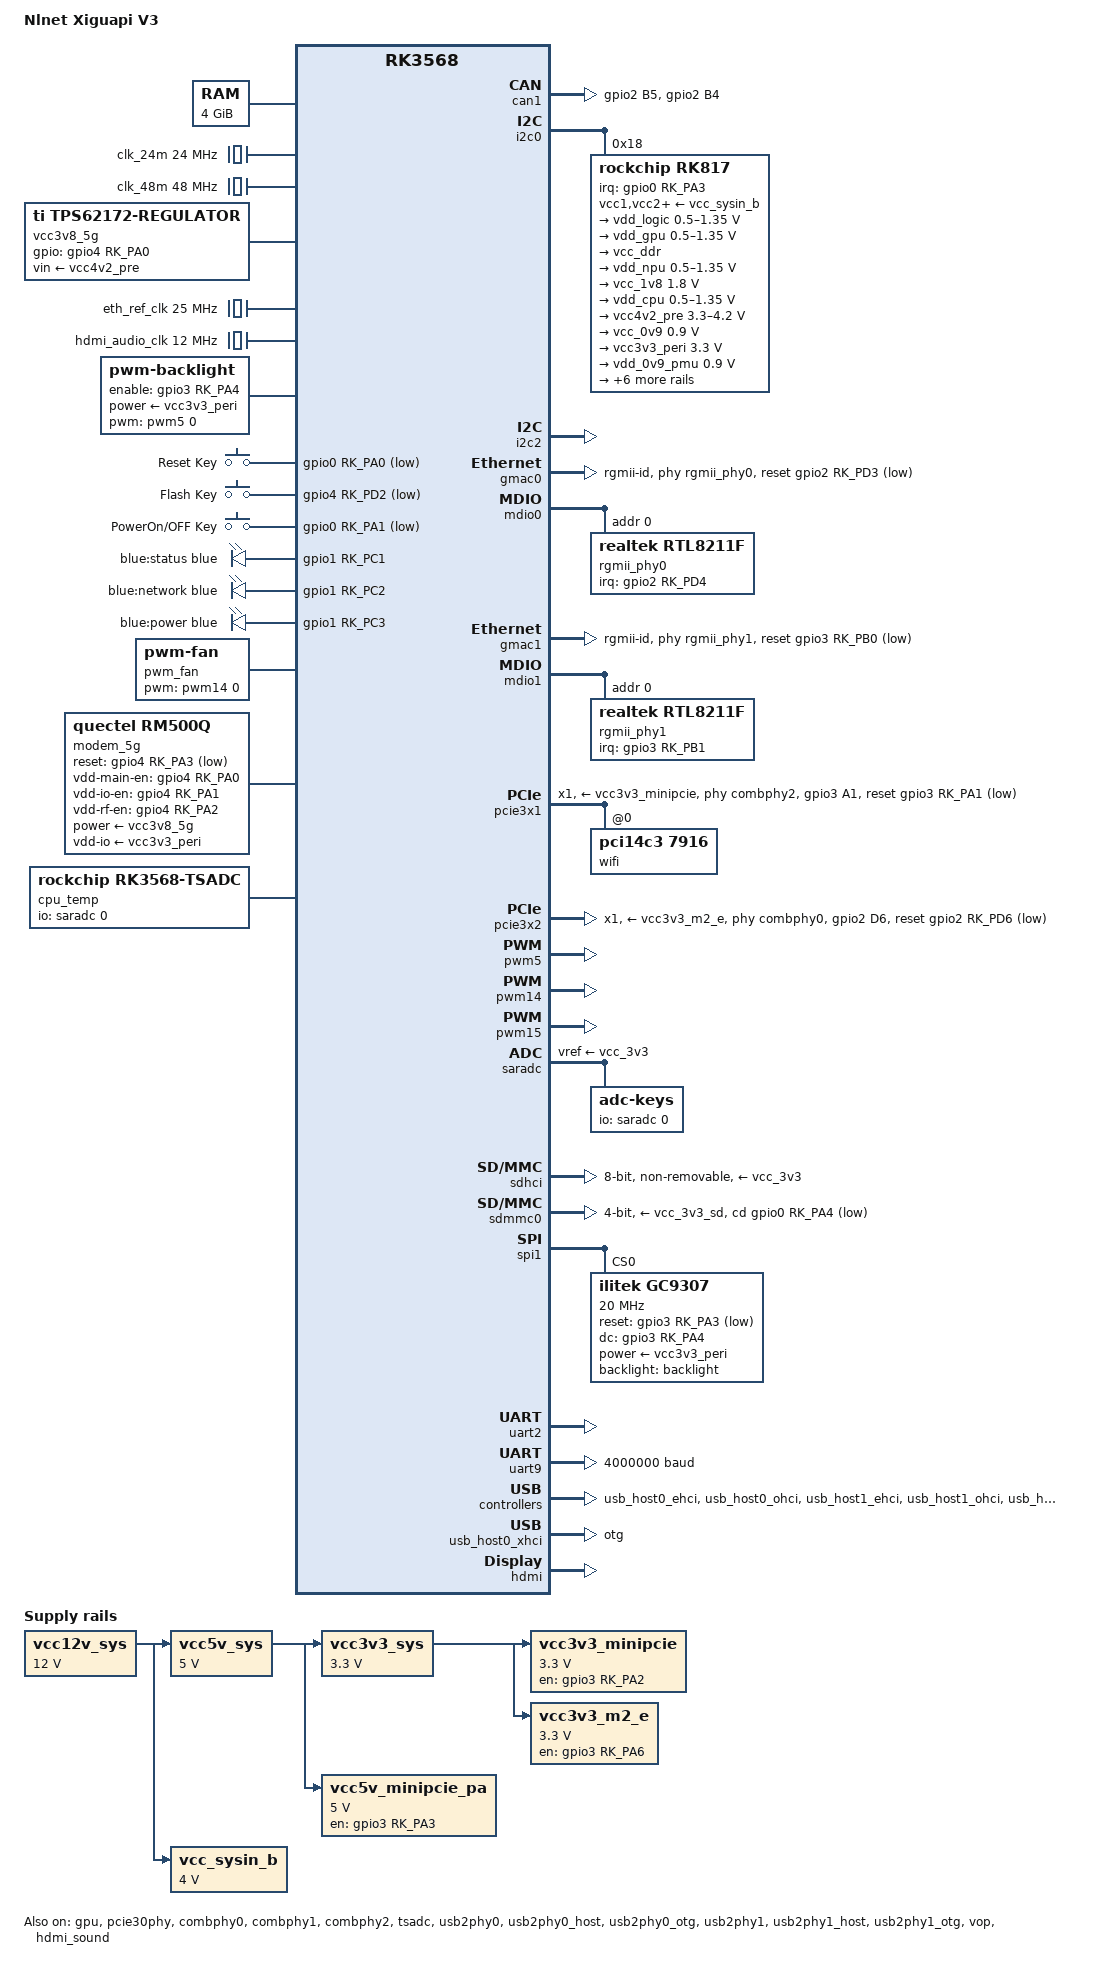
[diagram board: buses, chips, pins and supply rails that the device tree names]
/dts-v1/;
#include <dt-bindings/gpio/gpio.h>
#include <dt-bindings/pinctrl/rockchip.h>
#include <dt-bindings/input/input.h>
#include <dt-bindings/leds/common.h>
#include <dt-bindings/soc/rockchip,vop2.h>
#include <dt-bindings/interrupt-controller/irq.h>
#include <dt-bindings/thermal/thermal.h>
#include <rockchip/rk3568.dtsi>

/ {
	model = "Nlnet Xiguapi V3";
	compatible = "nlnet,xiguapi-v3", "rockchip,rk3568";

	aliases {
		ethernet0 = &gmac0;
		ethernet1 = &gmac1;
		mmc0 = &sdhci;
		mmc1 = &sdmmc0;
		spi0 = &spi1;
		led-boot = &led_power;
		led-failsafe = &led_status;
		led-running = &led_status;
		led-upgrade = &led_status;
	};

	chosen {
		stdout-path = "serial2:115200n8";
		bootargs = "earlycon=uart8250,mmio32,0xfe660000 console=ttyS2,115200n8 root=/dev/mmcblk0p2 rw rootwait";
	};

	memory@80000000 {
		device_type = "memory";
		reg = <0x0 0x80000000 0x1 0x00000000>;
	};

	reserved-memory {
		#address-cells = <2>;
		#size-cells = <2>;
		ranges;

		vpu_reserved: vpu@88000000 {
			reg = <0x0 0x88000000 0x0 0x04000000>;
			no-map;
		};

		dma_reserved: dma@8c000000 {
			compatible = "shared-dma-pool";
			reg = <0x0 0x8c000000 0x0 0x02000000>;
			reusable;
			no-map;
		};

		secure_reserved: secure@8e000000 {
			compatible = "rockchip,secure-memory";
			reg = <0x0 0x8e000000 0x0 0x00100000>;
			no-map;
		};
	};

	display_timings: display-timings {
		native-mode = <&timing0>;
		timing0: timing0 {
			clock-frequency = <5840000>;
			hactive = <320>;
			vactive = <240>;
			hfront-porch = <20>;
			hback-porch = <15>;
			hsync-len = <10>;
			vfront-porch = <10>;
			vback-porch = <8>;
			vsync-len = <2>;
			hsync-active = <0>;
			vsync-active = <0>;
			de-active = <1>;
			pixelclk-active = <0>;
		};
	};

	fixed_clocks: fixed-clocks {
		compatible = "simple-bus";
		#address-cells = <1>;
		#size-cells = <0>;

		clk_24m: clk-24m@0 {
			compatible = "fixed-clock";
			clock-frequency = <24000000>;
			clock-output-names = "clk_24m";
			#clock-cells = <0>;
		};

		clk_48m: clk-48m@1 {
			compatible = "fixed-clock";
			clock-frequency = <48000000>;
			clock-output-names = "clk_48m";
			#clock-cells = <0>;
		};
	};

	vcc12v_sys: vcc12v-sys {
		compatible = "regulator-fixed";
		regulator-name = "vcc12v_sys";
		regulator-always-on;
		regulator-boot-on;
		regulator-min-microvolt = <12000000>;
		regulator-max-microvolt = <12000000>;
	};

	vcc5v_sys: vcc5v0-sys {
		compatible = "regulator-fixed";
		regulator-name = "vcc5v0_sys";
		regulator-always-on;
		regulator-boot-on;
		regulator-min-microvolt = <5000000>;
		regulator-max-microvolt = <5000000>;
		vin-supply = <&vcc12v_sys>;
	};

	vcc_sysin_b: vcc-sysin-b {
		compatible = "regulator-fixed";
		regulator-name = "vcc_sysin_b";
		regulator-always-on;
		regulator-boot-on;
		regulator-min-microvolt = <4000000>;
		regulator-max-microvolt = <4000000>;
		vin-supply = <&vcc12v_sys>;
	};

	vcc3v3_sys: vcc3v3-sys {
		compatible = "regulator-fixed";
		regulator-name = "vcc3v3_sys";
		regulator-always-on;
		regulator-boot-on;
		regulator-min-microvolt = <3300000>;
		regulator-max-microvolt = <3300000>;
		vin-supply = <&vcc5v_sys>;
	};

	vcc3v8_5g: vcc3v8-5g {
		compatible = "ti,tps62172-regulator";
		regulator-name = "vcc3v8_5g";
		regulator-min-microvolt = <3800000>;
		regulator-max-microvolt = <3800000>;
		regulator-soft-start;
		regulator-ramp-delay = <10000>;
		startup-delay-us = <50000>;
		off-on-delay-us = <200000>;
		enable-active-high;
		gpio = <&gpio4 RK_PA0 GPIO_ACTIVE_HIGH>;
		pinctrl-names = "default";
		pinctrl-0 = <&vcc3v8_5g_en>;
		vin-supply = <&vcc4v2_pre>;
		power-on-delay-ms = <100>;
	};

	vcc3v3_minipcie: vcc3v3-minipcie {
		compatible = "regulator-fixed";
		regulator-name = "vcc3v3_minipcie";
		regulator-min-microvolt = <3300000>;
		regulator-max-microvolt = <3300000>;
		enable-active-high;
		gpio = <&gpio3 RK_PA2 GPIO_ACTIVE_HIGH>;
		pinctrl-names = "default";
		pinctrl-0 = <&minipcie_pwr_en>;
		vin-supply = <&vcc3v3_sys>;
	};

	vcc5v_minipcie_pa: vcc5v-minipcie-pa {
		compatible = "regulator-fixed";
		regulator-name = "vcc5v_minipcie_pa";
		regulator-min-microvolt = <5000000>;
		regulator-max-microvolt = <5000000>;
		enable-active-high;
		gpio = <&gpio3 RK_PA3 GPIO_ACTIVE_HIGH>;
		pinctrl-names = "default";
		pinctrl-0 = <&minipcie_pa_pwr_en>;
		vin-supply = <&vcc5v_sys>;
	};

	vcc3v3_m2_e: vcc3v3-m2-e {
		compatible = "regulator-fixed";
		regulator-name = "vcc3v3_m2_e";
		regulator-min-microvolt = <3300000>;
		regulator-max-microvolt = <3300000>;
		enable-active-high;
		gpio = <&gpio3 RK_PA6 GPIO_ACTIVE_HIGH>;
		pinctrl-names = "default";
		pinctrl-0 = <&m2_e_pwr_en>;
		vin-supply = <&vcc3v3_sys>;
	};

	eth_ref_clk: eth-ref-clk {
		compatible = "fixed-clock";
		clock-frequency = <25000000>;
		clock-output-names = "eth_ref_clk";
		#clock-cells = <0>;
	};

	hdmi_audio_clk: hdmi-audio-clk {
		compatible = "fixed-clock";
		clock-frequency = <12000000>;
		clock-output-names = "hdmi_audio_clk";
		#clock-cells = <0>;
	};

	spi_lcd_clk: spi-lcd-clk {
		compatible = "fixed-clock";
		clock-frequency = <20000000>;
		clock-output-names = "spi_lcd_clk";
		#clock-cells = <0>;
	};

	backlight: backlight {
		compatible = "pwm-backlight";
		pwms = <&pwm5 0 1000000 0>;
		brightness-levels = <0 4 8 16 32 64 128 255>;
		default-brightness-level = <6>;
		enable-gpios = <&gpio3 RK_PA4 GPIO_ACTIVE_HIGH>;
		power-supply = <&vcc3v3_peri>;
	};

	gpio-keys {
		compatible = "gpio-keys";
		pinctrl-names = "default";
		pinctrl-0 = <&reset_key_pin>, <&flash_key_pin>, <&power_key_pin>;

		reset-key {
			label = "Reset Key";
			gpios = <&gpio0 RK_PA0 GPIO_ACTIVE_LOW>;
			linux,code = <KEY_RESTART>;
			debounce-interval = <10>;
		};

		flash-key {
			label = "Flash Key";
			gpios = <&gpio4 RK_PD2 GPIO_ACTIVE_LOW>;
			linux,code = <KEY_PROG1>;
			debounce-interval = <100>;
		};

		recovery-key {
			label = "PowerOn/OFF Key";
			gpios = <&gpio0 RK_PA1 GPIO_ACTIVE_LOW>;
			linux,code = <KEY_POWER>;
			debounce-interval = <100>;
			wakeup-source;
		};
	};

	leds {
		compatible = "gpio-leds";
		pinctrl-names = "default";
		pinctrl-0 = <&led_status_pin>, <&led_network_pin>, <&led_power_pin>;

		led_status: led-status {
			label = "blue:status";
			gpios = <&gpio1 RK_PC1 GPIO_ACTIVE_HIGH>;
			linux,default-trigger = "heartbeat";
			color = <LED_COLOR_ID_BLUE>;
		};

		led_network: led-network {
			label = "blue:network";
			gpios = <&gpio1 RK_PC2 GPIO_ACTIVE_HIGH>;
			linux,default-trigger = "netdev";
			color = <LED_COLOR_ID_BLUE>;
		};

		led_power: led-power {
			label = "blue:power";
			gpios = <&gpio1 RK_PC3 GPIO_ACTIVE_HIGH>;
			default-state = "on";
			color = <LED_COLOR_ID_BLUE>;
		};
	};

	pwm_fan: pwm-fan {
		compatible = "pwm-fan";
		pwms = <&pwm14 0 40000 0>;
		#cooling-cells = <2>;
		cooling-levels = <0 255>;
		pinctrl-names = "default";
		pinctrl-0 = <&pwm14m0_pins>;
	};

	modem_5g: modem-5g {
		compatible = "quectel,rm500q", "fibocom,fm350gl";
		power-supply = <&vcc3v8_5g>;
		vdd-io-supply = <&vcc3v3_peri>;
		reset-gpios = <&gpio4 RK_PA3 GPIO_ACTIVE_LOW>;
		vdd-main-en-gpios = <&gpio4 RK_PA0 GPIO_ACTIVE_HIGH>;
		vdd-io-en-gpios = <&gpio4 RK_PA1 GPIO_ACTIVE_HIGH>;
		vdd-rf-en-gpios = <&gpio4 RK_PA2 GPIO_ACTIVE_HIGH>;
		uart = <&uart9>;
		power-on-delay-ms = <50>;
		reset-duration-ms = <100>;
		pinctrl-names = "default";
		pinctrl-0 = <&modem_5g_pins>;
		status = "okay";
	};

	cpu_opp_table: cpu-opp-table {
		compatible = "operating-points-v2";

		opp-408000000 {
			opp-hz = /bits/ 64 <408000000>;
			opp-microvolt = <725000>;
		};

		opp-816000000 {
			opp-hz = /bits/ 64 <816000000>;
			opp-microvolt = <762500>;
		};

		opp-1200000000 {
			opp-hz = /bits/ 64 <1200000000>;
			opp-microvolt = <850000>;
		};

		opp-1608000000 {
			opp-hz = /bits/ 64 <1608000000>;
			opp-microvolt = <950000>;
		};

		opp-1800000000 {
			opp-hz = /bits/ 64 <1800000000>;
			opp-microvolt = <1025000>;
		};
	};

	gpu-opp-table {
		compatible = "operating-points-v2";

		opp-200000000 {
			opp-hz = /bits/ 64 <200000000>;
			opp-microvolt = <750000>;
		};

		opp-400000000 {
			opp-hz = /bits/ 64 <400000000>;
			opp-microvolt = <850000>;
		};

		opp-600000000 {
			opp-hz = /bits/ 64 <600000000>;
			opp-microvolt = <950000>;
		};
	};

	can1: can@fe510000 {
		compatible = "rockchip,rk3568-can", "rockchip,canfd-1.0";
		reg = <0x0 0xfe510000 0x0 0x1000>;
		interrupts = <GIC_SPI 101 IRQ_TYPE_LEVEL_HIGH>;
		clocks = <&cru CLK_CAN1>, <&cru PCLK_CAN1>;
		clock-names = "baudclk", "apb_pclk";
		resets = <&cru SRST_CAN1>, <&cru SRST_P_CAN1>;
		reset-names = "can", "can-apb";
		pinctrl-names = "default";
		pinctrl-0 = <&can1_pins>;
		status = "okay";
	};
};

&cpu0 {
	cpu-supply = <&vdd_cpu>;
	operating-points-v2 = <&cpu_opp_table>;
};

&cpu1 {
	cpu-supply = <&vdd_cpu>;
	operating-points-v2 = <&cpu_opp_table>;
};

&cpu2 {
	cpu-supply = <&vdd_cpu>;
	operating-points-v2 = <&cpu_opp_table>;
};

&cpu3 {
	cpu-supply = <&vdd_cpu>;
	operating-points-v2 = <&cpu_opp_table>;
};

&gpu {
	mali-supply = <&vdd_gpu>;
	operating-points-v2 = <&gpu_opp_table>;
	status = "okay";
};

&i2c0 {
	status = "okay";

	rk817: pmic@18 {
		compatible = "rockchip,rk817", "rockchip,rk808";
		reg = <0x18>;
		interrupt-parent = <&gpio0>;
		interrupts = <RK_PA3 IRQ_TYPE_LEVEL_LOW>;
		pinctrl-names = "default";
		pinctrl-0 = <&pmic_int>;
		rockchip,system-power-controller;
		wakeup-source;
		#clock-cells = <1>;
		clock-output-names = "rk808-clkout1", "rk808-clkout2";
		vcc1-supply = <&vcc_sysin_b>;
		vcc2-supply = <&vcc_sysin_b>;
		vcc3-supply = <&vcc_sysin_b>;
		vcc4-supply = <&vcc_sysin_b>;
		vcc5-supply = <&vcc_sysin_b>;
		vcc6-supply = <&vcc_sysin_b>;
		vcc7-supply = <&vcc_sysin_b>;
		vcc8-supply = <&vcc_sysin_b>;
		vcc9-supply = <&vcc_sysin_b>;

		regulators {
			vdd_logic: DCDC_REG1 {
				regulator-name = "vdd_logic";
				regulator-always-on;
				regulator-boot-on;
				regulator-min-microvolt = <500000>;
				regulator-max-microvolt = <1350000>;
				regulator-ramp-delay = <6001>;
				regulator-initial-mode = <0x2>;
				regulator-state-mem {
					regulator-off-in-suspend;
				};
			};

			vdd_gpu: DCDC_REG2 {
				regulator-name = "vdd_gpu";
				regulator-always-on;
				regulator-boot-on;
				regulator-min-microvolt = <500000>;
				regulator-max-microvolt = <1350000>;
				regulator-ramp-delay = <6001>;
				regulator-initial-mode = <0x2>;
				regulator-state-mem {
					regulator-off-in-suspend;
				};
			};

			vcc_ddr: DCDC_REG3 {
				regulator-name = "vcc_ddr";
				regulator-always-on;
				regulator-boot-on;
				regulator-initial-mode = <0x2>;
				regulator-state-mem {
					regulator-on-in-suspend;
				};
			};

			vdd_npu: DCDC_REG4 {
				regulator-name = "vdd_npu";
				regulator-always-on;
				regulator-boot-on;
				regulator-min-microvolt = <500000>;
				regulator-max-microvolt = <1350000>;
				regulator-ramp-delay = <6001>;
				regulator-initial-mode = <0x2>;
				regulator-state-mem {
					regulator-off-in-suspend;
				};
			};

			vcc_1v8: DCDC_REG5 {
				regulator-name = "vcc_1v8";
				regulator-always-on;
				regulator-boot-on;
				regulator-min-microvolt = <1800000>;
				regulator-max-microvolt = <1800000>;
				regulator-state-mem {
					regulator-off-in-suspend;
				};
			};

			vdd_cpu: DCDC_REG6 {
				regulator-name = "vdd_cpu";
				regulator-always-on;
				regulator-boot-on;
				regulator-min-microvolt = <500000>;
				regulator-max-microvolt = <1350000>;
				regulator-ramp-delay = <6001>;
				regulator-initial-mode = <0x2>;
				regulator-state-mem {
					regulator-off-in-suspend;
				};
			};

			vcc4v2_pre: DCDC_REG7 {
				regulator-name = "vcc4v2_pre";
				regulator-always-on;
				regulator-boot-on;
				regulator-min-microvolt = <3300000>;
				regulator-max-microvolt = <4200000>;
				regulator-state-mem {
					regulator-off-in-suspend;
				};
			};

			vcc_0v9: LDO_REG1 {
				regulator-name = "vcc_0v9";
				regulator-always-on;
				regulator-boot-on;
				regulator-min-microvolt = <900000>;
				regulator-max-microvolt = <900000>;
				regulator-state-mem {
					regulator-off-in-suspend;
				};
			};

			vcc3v3_peri: LDO_REG2 {
				regulator-name = "vcc3v3_peri";
				regulator-always-on;
				regulator-boot-on;
				regulator-min-microvolt = <3300000>;
				regulator-max-microvolt = <3300000>;
				regulator-state-mem {
					regulator-on-in-suspend;
					regulator-suspend-microvolt = <3300000>;
				};
			};

			vdd_0v9_pmu: LDO_REG3 {
				regulator-name = "vdd_0v9_pmu";
				regulator-always-on;
				regulator-boot-on;
				regulator-min-microvolt = <900000>;
				regulator-max-microvolt = <900000>;
				regulator-state-mem {
					regulator-on-in-suspend;
					regulator-suspend-microvolt = <900000>;
				};
			};

			vcc_3v3: LDO_REG4 {
				regulator-name = "vcc_3v3";
				regulator-always-on;
				regulator-boot-on;
				regulator-min-microvolt = <3300000>;
				regulator-max-microvolt = <3300000>;
				regulator-state-mem {
					regulator-off-in-suspend;
				};
			};

			vcc_1v8_pmu: LDO_REG5 {
				regulator-name = "vcc_1v8_pmu";
				regulator-always-on;
				regulator-boot-on;
				regulator-min-microvolt = <1800000>;
				regulator-max-microvolt = <1800000>;
				regulator-state-mem {
					regulator-on-in-suspend;
					regulator-suspend-microvolt = <1800000>;
				};
			};

			vcc_1v8_image: LDO_REG6 {
				regulator-name = "vcc_1v8_image";
				regulator-always-on;
				regulator-boot-on;
				regulator-min-microvolt = <1800000>;
				regulator-max-microvolt = <1800000>;
				regulator-state-mem {
					regulator-off-in-suspend;
				};
			};

			vcc_3v3_sd: LDO_REG7 {
				regulator-name = "vcc_3v3_sd";
				regulator-always-on;
				regulator-boot-on;
				regulator-min-microvolt = <3300000>;
				regulator-max-microvolt = <3300000>;
				regulator-state-mem {
					regulator-off-in-suspend;
				};
			};

			vcc_3v3_codec: LDO_REG8 {
				regulator-name = "vcc_3v3_codec";
				regulator-always-on;
				regulator-boot-on;
				regulator-min-microvolt = <3300000>;
				regulator-max-microvolt = <3300000>;
				regulator-state-mem {
					regulator-off-in-suspend;
				};
			};

			vcc_1v8_codec: LDO_REG9 {
				regulator-name = "vcc_1v8_codec";
				regulator-always-on;
				regulator-boot-on;
				regulator-min-microvolt = <1800000>;
				regulator-max-microvolt = <1800000>;
				regulator-state-mem {
					regulator-off-in-suspend;
				};
			};
		};
	};
};

&i2c2 {
	status = "okay";
	pinctrl-names = "default";
	pinctrl-0 = <&i2c2m1_xfer>;
};

&gmac0 {
	assigned-clocks = <&cru SCLK_GMAC0_RX_TX>, <&cru SCLK_GMAC0>;
	assigned-clock-parents = <&cru SCLK_GMAC0_RGMII_SPEED>, <&cru CLK_MAC0_2TOP>;
	assigned-clock-rates = <0>, <125000000>;
	clock_in_out = "output";
	phy-mode = "rgmii-id";
	pinctrl-names = "default";
	pinctrl-0 = <&gmac0_miim &gmac0_tx_bus2 &gmac0_rx_bus2 &gmac0_rgmii_clk &gmac0_rgmii_bus>;
	snps,reset-gpio = <&gpio2 RK_PD3 GPIO_ACTIVE_LOW>;
	snps,reset-active-low;
	snps,reset-delays-us = <0 20000 100000>;
	tx_delay = <0x4f>;
	rx_delay = <0x26>;
	phy-handle = <&rgmii_phy0>;
	status = "okay";
};

&mdio0 {
	rgmii_phy0: ethernet-phy@0 {
		compatible = "realtek,rtl8211f", "ethernet-phy-ieee802.3-c22";
		reg = <0x0>;
		interrupt-parent = <&gpio2>;
		interrupts = <RK_PD4 IRQ_TYPE_LEVEL_LOW>;
		realtek,led-0-mode = <3>;
		realtek,led-1-mode = <6>;
		eee-broken-1000t;
	};
};

&gmac1 {
	assigned-clocks = <&cru SCLK_GMAC1_RX_TX>, <&cru SCLK_GMAC1>;
	assigned-clock-parents = <&cru SCLK_GMAC1_RGMII_SPEED>, <&cru CLK_MAC1_2TOP>;
	assigned-clock-rates = <0>, <125000000>;
	clock_in_out = "output";
	phy-mode = "rgmii-id";
	pinctrl-names = "default";
	pinctrl-0 = <&gmac1m1_miim &gmac1m1_tx_bus2 &gmac1m1_rx_bus2 &gmac1m1_rgmii_clk &gmac1m1_rgmii_bus>;
	snps,reset-gpio = <&gpio3 RK_PB0 GPIO_ACTIVE_LOW>;
	snps,reset-active-low;
	snps,reset-delays-us = <0 20000 100000>;
	tx_delay = <0x4f>;
	rx_delay = <0x26>;
	phy-handle = <&rgmii_phy1>;
	status = "okay";
};

&mdio1 {
	rgmii_phy1: ethernet-phy@0 {
		compatible = "realtek,rtl8211f", "ethernet-phy-ieee802.3-c22";
		reg = <0x0>;
		interrupt-parent = <&gpio3>;
		interrupts = <RK_PB1 IRQ_TYPE_LEVEL_LOW>;
		realtek,led-0-mode = <3>;
		realtek,led-1-mode = <6>;
		eee-broken-1000t;
	};
};

&pcie3x1 {
	reset-gpios = <&gpio3 RK_PA1 GPIO_ACTIVE_LOW>;
	snps,reset-delays-us = <0 100000 0>;
	vpcie3v3-supply = <&vcc3v3_minipcie>;
	vpcie5v-supply = <&vcc5v_minipcie_pa>;
	phys = <&combphy2 PHY_TYPE_PCIE>;
	phy-names = "pcie-phy";
	num-lanes = <1>;
	max-link-speed = <3>;
	bus-scan-delay-ms = <1000>;
	pinctrl-names = "default";
	pinctrl-0 = <&pcie3x1_reset>;
	power-domains = <&power RK3568_PD_PIPE>;
	#address-cells = <3>;
	#size-cells = <2>;
	status = "okay";

	pcie@0,0 {
		reg = <0x000000 0 0 0 0>;
		#address-cells = <3>;
		#size-cells = <2>;

		wifi@0,0 {
			compatible = "pci14c3,7916", "pci168c,003e", "pci168c,0042";
			reg = <0x000000 0 0 0 0>;
			status = "okay";
		};
	};
};

&pcie30phy {
	status = "okay";
};

&pcie3x2 {
	reset-gpios = <&gpio2 RK_PD6 GPIO_ACTIVE_LOW>;
	snps,reset-delays-us = <0 200000 0>;
	vpcie3v3-supply = <&vcc3v3_m2_e>;
	phys = <&combphy0 PHY_TYPE_PCIE>;
	phy-names = "pcie-phy";
	num-lanes = <1>;
	max-link-speed = <2>;
	pinctrl-names = "default";
	pinctrl-0 = <&pcie3x2_reset>;
	power-domains = <&power RK3568_PD_PIPE>;
	status = "okay";
};

&combphy0 {
	status = "okay";
};

&combphy1 {
	status = "okay";
};

&combphy2 {
	status = "okay";
};

&pwm5 {
	status = "okay";
	pinctrl-names = "default";
	pinctrl-0 = <&pwm5_pins>;
};

&pwm14 {
	status = "okay";
	pinctrl-names = "default";
	pinctrl-0 = <&pwm14m0_pins>;
};

&pwm15 {
	status = "okay";
	pinctrl-names = "default";
	pinctrl-0 = <&pwm15m0_pins>;
};

&saradc {
	vref-supply = <&vcc_3v3>;
	#io-channel-cells = <1>;
	status = "okay";

	adc-keys {
		compatible = "adc-keys";
		io-channels = <&saradc 0>;
		io-channel-names = "buttons";
		keyup-threshold-microvolt = <1800000>;

		button-up {
			label = "Volume Up";
			linux,code = <KEY_VOLUMEUP>;
			press-threshold-microvolt = <100000>;
		};

		button-down {
			label = "Volume Down";
			linux,code = <KEY_VOLUMEDOWN>;
			press-threshold-microvolt = <300000>;
		};
	};
};

&sdhci {
	bus-width = <8>;
	max-frequency = <200000000>;
	non-removable;
	pinctrl-names = "default";
	pinctrl-0 = <&emmc_bus8 &emmc_clk &emmc_cmd &emmc_datastrobe>;
	vmmc-supply = <&vcc_3v3>;
	vqmmc-supply = <&vcc_1v8>;
	status = "okay";
};

&sdmmc0 {
	bus-width = <4>;
	cap-sd-highspeed;
	cd-gpios = <&gpio0 RK_PA4 GPIO_ACTIVE_LOW>;
	disable-wp;
	pinctrl-names = "default";
	pinctrl-0 = <&sdmmc0_bus4 &sdmmc0_clk &sdmmc0_cmd &sdmmc0_det>;
	sd-uhs-sdr50;
	vmmc-supply = <&vcc_3v3_sd>;
	vqmmc-supply = <&vcc_1v8>;
	status = "okay";
};

&spi1 {
	status = "okay";
	pinctrl-names = "default";
	pinctrl-0 = <&spi1m0_cs0 &spi1m0_pins>;
	clocks = <&cru CLK_SPI1>, <&cru PCLK_SPI1>;
	clock-names = "spiclk", "apb_pclk";
	assigned-clocks = <&cru CLK_SPI1>;
	assigned-clock-rates = <20000000>;

	gc9307: lcd@0 {
		compatible = "ilitek,gc9307", "sitronix,st7789v";
		reg = <0>;
		spi-max-frequency = <20000000>;
		spi-cpol = <0>;
		spi-cpha = <0>;
		spi-tx-bus-width = <1>;
		spi-rx-bus-width = <1>;
		spi-delay-us = <1>;
		reset-gpios = <&gpio3 RK_PA3 GPIO_ACTIVE_LOW>;
		dc-gpios = <&gpio3 RK_PA4 GPIO_ACTIVE_HIGH>;
		power-supply = <&vcc3v3_peri>;
		backlight = <&backlight>;
		display-timings = <&display_timings>;
		status = "okay";
	};
};

&tsadc {
	rockchip,hw-tshut-mode = <1>;
	rockchip,hw-tshut-polarity = <0>;
	rockchip,grf = <&grf>;
	rockchip,grf-tsadc-conv-time = <0x32>;
	rockchip,grf-tsadc-analog-mode = <0>;
	status = "okay";

	cpu_temp: cpu-temp {
		compatible = "rockchip,rk3568-tsadc";
		io-channels = <&saradc 0>;
		io-channel-names = "sensor-channel";
		#thermal-sensor-cells = <0>;
	};
};

&uart2 {
	status = "okay";
	pinctrl-names = "default";
	pinctrl-0 = <&uart2m0_xfer>;
};

&uart9 {
	status = "okay";
	pinctrl-names = "default";
	pinctrl-0 = <&uart9m0_xfer>;
	current-speed = <4000000>;
};

&usb_host0_ehci {
	status = "okay";
};

&usb_host0_ohci {
	status = "okay";
};

&usb_host1_ehci {
	status = "okay";
};

&usb_host1_ohci {
	status = "okay";
};

&usb_host0_xhci {
	dr_mode = "otg";
	extcon = <&usb2phy0>;
	snps,dis_u2_susphy_quirk;
	snps,dis_enblslpm_quirk;
	snps,usb3_lpm_capable;
	wakeup-source;
	usb-role-switch;
	role-switch-default-mode = "host";
	status = "okay";
};

&usb_host1_xhci {
	status = "okay";
};

&usb2phy0 {
	status = "okay";
};

&usb2phy0_host {
	phy-supply = <&vcc5v_sys>;
	status = "okay";
};

&usb2phy0_otg {
	phy-supply = <&vcc5v_sys>;
	status = "okay";
};

&usb2phy1 {
	status = "okay";
};

&usb2phy1_host {
	phy-supply = <&vcc5v_sys>;
	status = "okay";
};

&usb2phy1_otg {
	phy-supply = <&vcc5v_sys>;
	status = "okay";
};

&vop {
	assigned-clocks = <&cru DCLK_VOP0>, <&cru DCLK_VOP1>;
	assigned-clock-parents = <&pmucru PLL_HPLL>, <&cru PLL_VPLL>;
	status = "okay";
};

&vop_mmu {
	status = "okay";
};

&hdmi {
	avdd-0v9-supply = <&vcc_0v9>;
	avdd-1v8-supply = <&vcc_1v8>;
	status = "okay";
};

&hdmi_in {
	hdmi_in_vp0: endpoint {
		remote-endpoint = <&vp0_out_hdmi>;
	};
};

&hdmi_sound {
	status = "okay";
};

&vp0 {
	vp0_out_hdmi: endpoint@2 {
		reg = <2>;
		remote-endpoint = <&hdmi_in_vp0>;
	};
};

&thermal_zones {
	cpu_thermal: cpu-thermal {
		polling-delay-passive = <100>;
		polling-delay = <1000>;
		thermal-sensors = <&cpu_temp>;

		trips {
			cpu_crit: cpu_crit {
				temperature = <95000>;
				hysteresis = <2000>;
				type = "critical";
			};
		};
	};
};

&cru {
	assigned-clocks = <&cru PLL_GPLL>, <&cru PLL_CPLL>, <&cru ACLK_GPU_PRE>, <&cru CLK_I2S0_8CH_TX_SRC>, <&cru CLK_I2S0_8CH_RX_SRC>;
	assigned-clock-rates = <1200000000>, <1000000000>, <500000000>, <1188000000>, <1188000000>;
};

&pinctrl {
	pmic {
		pmic_int: pmic-int {
			rockchip,pins = <0 RK_PA3 RK_FUNC_GPIO &pcfg_pull_up>;
		};
	};

	gpio-keys {
		reset_key_pin: reset-key-pin {
			rockchip,pins = <0 RK_PA0 RK_FUNC_GPIO &pcfg_pull_up>;
		};

		flash_key_pin: flash-key-pin {
			rockchip,pins = <4 RK_PD2 RK_FUNC_GPIO &pcfg_pull_up>;
		};

		power_key_pin: power-key-pin {
			rockchip,pins = <0 RK_PA1 RK_FUNC_GPIO &pcfg_pull_up>;
		};
	};

	leds {
		led_status_pin: led-status-pin {
			rockchip,pins = <1 RK_PC1 RK_FUNC_GPIO &pcfg_pull_none>;
		};

		led_network_pin: led-network-pin {
			rockchip,pins = <1 RK_PC2 RK_FUNC_GPIO &pcfg_pull_none>;
		};

		led_power_pin: led-power-pin {
			rockchip,pins = <1 RK_PC3 RK_FUNC_GPIO &pcfg_pull_none>;
		};
	};

	pcie {
		pcie3x1_reset: pcie3x1-reset {
			rockchip,pins = <3 RK_PA1 RK_FUNC_GPIO &pcfg_pull_none>;
		};

		pcie3x2_reset: pcie3x2-reset {
			rockchip,pins = <2 RK_PD6 RK_FUNC_GPIO &pcfg_pull_none>;
		};

		minipcie_pwr_en: minipcie-pwr-en {
			rockchip,pins = <3 RK_PA2 RK_FUNC_GPIO &pcfg_pull_none>;
		};

		minipcie_pa_pwr_en: minipcie-pa-pwr-en {
			rockchip,pins = <3 RK_PA3 RK_FUNC_GPIO &pcfg_pull_none>;
		};

		m2_e_pwr_en: m2-e-pwr-en {
			rockchip,pins = <3 RK_PA6 RK_FUNC_GPIO &pcfg_pull_none>;
		};
	};

	wireless {
		vcc3v8_5g_en: vcc3v8-5g-en {
			rockchip,pins = <4 RK_PA0 RK_FUNC_GPIO &pcfg_pull_none>;
		};

		modem_5g_pins: modem-5g-pins {
			rockchip,pins = <4 RK_PA0 RK_FUNC_GPIO &pcfg_pull_none>, <4 RK_PA1 RK_FUNC_GPIO &pcfg_pull_none>, <4 RK_PA2 RK_FUNC_GPIO &pcfg_pull_none>, <4 RK_PA3 RK_FUNC_GPIO &pcfg_pull_none>;
		};
	};

	can {
		can1_pins: can1-pins {
			rockchip,pins = <2 RK_PB5 2 &pcfg_pull_none>, <2 RK_PB4 2 &pcfg_pull_none>;
		};
	};
};
